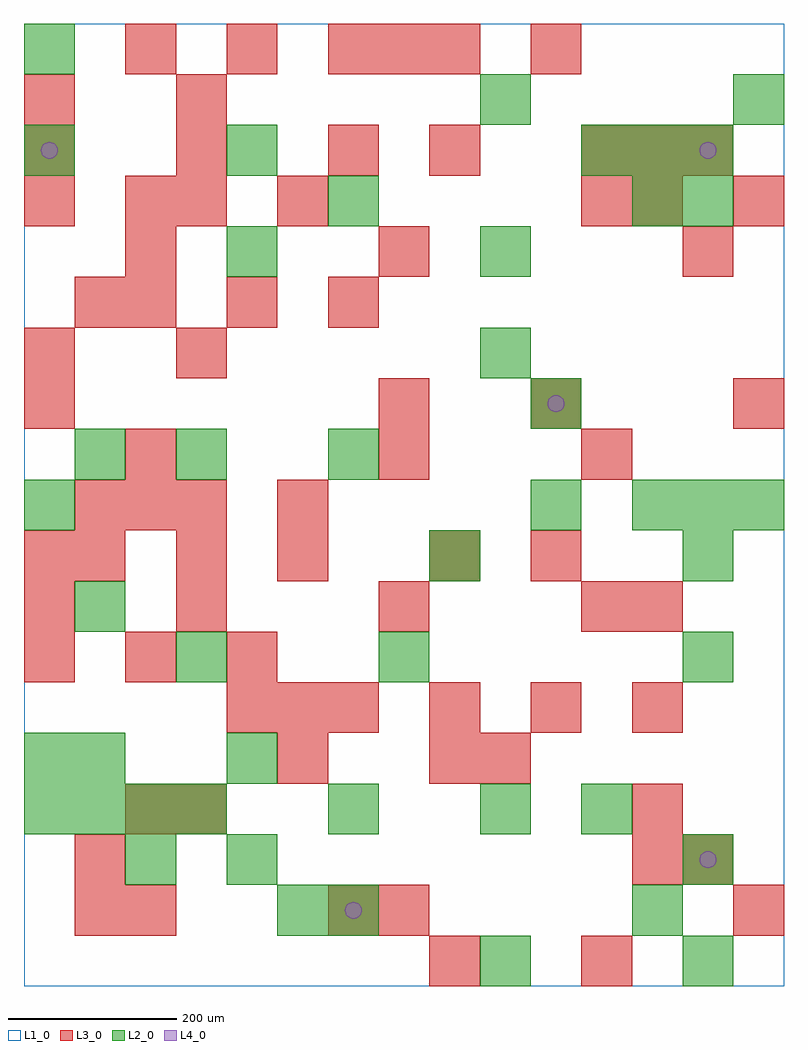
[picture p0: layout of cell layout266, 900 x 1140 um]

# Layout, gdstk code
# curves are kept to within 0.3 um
import gdstk
lib = gdstk.Library(unit=1e-6, precision=1e-09)
def R(c, l, rs):  # rectangles x0, y0, x1, y1
    for r in rs: c.add(gdstk.rectangle(r[:2], r[2:], *l))
def A(c, l, x, y, w, h, nx, ny, dx, dy):  # array of equal rectangles
    R(c, l, [(x+i*dx, y+j*dy, x+i*dx+w, y+j*dy+h) for i in range(nx) for j in range(ny)])
def P(c, l, *ps):  # polygons
    for p in ps: c.add(gdstk.Polygon(p, *l))
L1_0 = (1, 0)
L2_0 = (2, 0)
L3_0 = (3, 0)
L4_0 = (4, 0)

layout266 = lib.new_cell('layout266')
R(layout266, L1_0, [(0,0,900,1140)])
A(layout266, L2_0, 0, 180, 60, 60, 4, 1, 60, 0)
A(layout266, L2_0, 60, 240, 60, 60, 1, 3, 0, 180)
A(layout266, L2_0, 720, 540, 60, 60, 3, 1, 60, 0)
A(layout266, L2_0, 660, 960, 60, 60, 3, 1, 60, 0)
R(layout266, L2_0, [(540,0,600,60), (780,0,840,60), (300,60,360,120), (360,60,420,120), (720,60,780,120), (120,120,180,180), (240,120,300,180), (780,120,840,180), (360,180,420,240), (540,180,600,240), (660,180,720,240), (0,240,60,300), (240,240,300,300), (180,360,240,420), (420,360,480,420), (780,360,840,420), (480,480,540,540), (780,480,840,540), (0,540,60,600), (600,540,660,600), (180,600,240,660), (360,600,420,660), (600,660,660,720), (540,720,600,780), (240,840,300,900), (540,840,600,900), (360,900,420,960), (720,900,780,960), (780,900,840,960), (0,960,60,1020), (240,960,300,1020), (540,1020,600,1080), (840,1020,900,1080), (0,1080,60,1140)])
A(layout266, L3_0, 480, 0, 60, 60, 1, 3, 0, 240)
A(layout266, L3_0, 240, 300, 60, 60, 3, 1, 60, 0)
A(layout266, L3_0, 480, 300, 60, 60, 3, 1, 120, 0)
A(layout266, L3_0, 0, 360, 60, 60, 3, 1, 120, 0)
A(layout266, L3_0, 180, 420, 60, 60, 3, 1, 240, 0)
A(layout266, L3_0, 60, 480, 60, 60, 3, 1, 120, 0)
A(layout266, L3_0, 60, 540, 60, 60, 3, 1, 60, 0)
A(layout266, L3_0, 120, 780, 60, 60, 3, 2, 120, 300)
A(layout266, L3_0, 0, 960, 60, 60, 3, 1, 180, 0)
A(layout266, L3_0, 660, 960, 60, 60, 3, 1, 60, 0)
R(layout266, L3_0, [(660,0,720,60), (60,60,120,120), (120,60,180,120), (360,60,420,120), (420,60,480,120), (840,60,900,120), (60,120,120,180), (720,120,780,180), (780,120,840,180), (120,180,180,240), (180,180,240,240), (720,180,780,240), (300,240,360,300), (540,240,600,300), (0,420,60,480), (720,420,780,480), (0,480,60,540), (600,480,660,540), (300,540,360,600), (120,600,180,660), (420,600,480,660), (660,600,720,660), (0,660,60,720), (420,660,480,720), (600,660,660,720), (840,660,900,720), (0,720,60,780), (180,720,240,780), (60,780,120,840), (120,840,180,900), (420,840,480,900), (780,840,840,900), (0,900,60,960), (120,900,180,960), (180,900,240,960), (300,900,360,960), (660,900,720,960), (720,900,780,960), (840,900,900,960), (480,960,540,1020), (0,1020,60,1080), (180,1020,240,1080), (420,1080,480,1140), (480,1080,540,1140), (600,1080,660,1140)])
P(layout266, L4_0, [(40,990),(39.239,993.827),(37.071,997.071),(33.827,999.239),(30,1000),(26.173,999.239),(22.929,997.071),(20.761,993.827),(20,990),(20.761,986.173),(22.929,982.929),(26.173,980.761),(30,980),(33.827,980.761),(37.071,982.929),(39.239,986.173)],
  [(400,90),(399.239,93.827),(397.071,97.071),(393.827,99.239),(390,100),(386.173,99.239),(382.929,97.071),(380.761,93.827),(380,90),(380.761,86.173),(382.929,82.929),(386.173,80.761),(390,80),(393.827,80.761),(397.071,82.929),(399.239,86.173)],
  [(640,690),(639.239,693.827),(637.071,697.071),(633.827,699.239),(630,700),(626.173,699.239),(622.929,697.071),(620.761,693.827),(620,690),(620.761,686.173),(622.929,682.929),(626.173,680.761),(630,680),(633.827,680.761),(637.071,682.929),(639.239,686.173)],
  [(820,150),(819.239,153.827),(817.071,157.071),(813.827,159.239),(810,160),(806.173,159.239),(802.929,157.071),(800.761,153.827),(800,150),(800.761,146.173),(802.929,142.929),(806.173,140.761),(810,140),(813.827,140.761),(817.071,142.929),(819.239,146.173)],
  [(820,990),(819.239,993.827),(817.071,997.071),(813.827,999.239),(810,1000),(806.173,999.239),(802.929,997.071),(800.761,993.827),(800,990),(800.761,986.173),(802.929,982.929),(806.173,980.761),(810,980),(813.827,980.761),(817.071,982.929),(819.239,986.173)])

lib.write_gds('layout266.gds')
